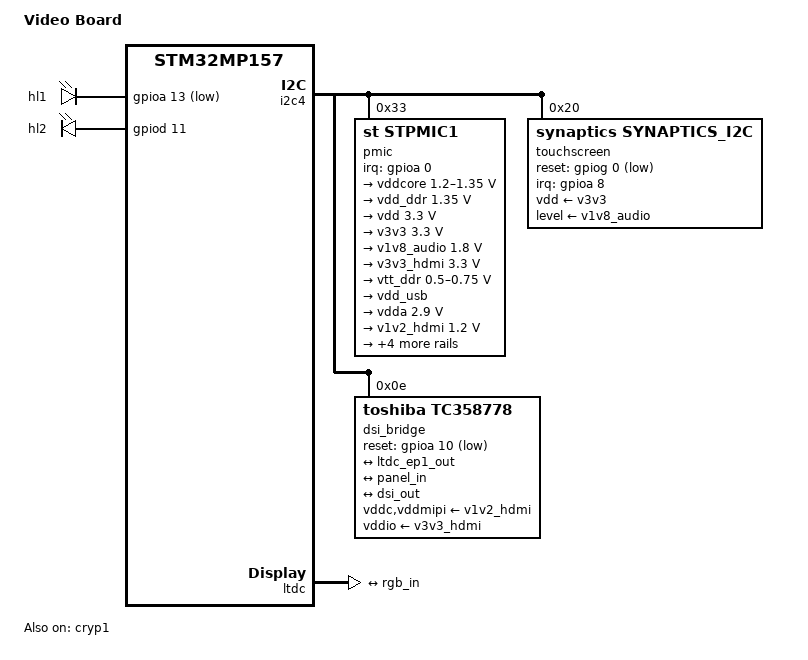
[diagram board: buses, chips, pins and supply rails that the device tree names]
// SPDX-License-Identifier: (GPL-2.0+ OR BSD-3-Clause)
/*
 * Copyright (C) STMicroelectronics 2019 - All Rights Reserved
 * Author: Alexandre Torgue <alexandre.torgue@st.com> for STMicroelectronics.
 */

/dts-v1/;

#include <dt-bindings/mfd/st,stpmic1.h>
//
#include "stm32mp157.dtsi"
#include "stm32mp15xc.dtsi"
#include "stm32mp15-pinctrl.dtsi"
#include "stm32mp15xxac-pinctrl.dtsi"
//
#include "stm32mp15xx-videodev.dtsi"

/ {
	model = "Video Board";
	compatible = "st,stm32mp157c-dk2", "st,stm32mp157";

	aliases {
		serial0 = &uart4;
		serial1 = &uart7;
	};

	chosen {
		stdout-path = "serial0:115200n8";
	};

	led {
		compatible = "gpio-leds";
		led-hl1 {
			label = "hl1";
			gpios = <&gpioa 13 GPIO_ACTIVE_LOW>;
			linux,default-trigger = "heartbeat";
			default-state = "on";
		};
	};

	led {
		compatible = "gpio-leds";
		led-hl2 {
			label = "hl2";
			gpios = <&gpiod 11 (GPIO_ACTIVE_HIGH | GPIO_PULL_UP)>;
			linux,default-trigger = "heartbeat";
			default-state = "on";
		};
	};

	src_clk_x1: src_clk_x1 {
		#clock-cells = <0>;
		compatible = "fixed-clock";
		clock-frequency = <20000000>;
	};
};

&cryp1 {
	status = "okay";
};

&i2c4 {
	status = "okay";

	pmic: stpmic@33 {
		compatible = "st,stpmic1";
		reg = <0x33>;
		interrupts-extended = <&gpioa 0 IRQ_TYPE_EDGE_FALLING>;
		interrupt-controller;
		#interrupt-cells = <2>;
		status = "okay";

		regulators {
			compatible = "st,stpmic1-regulators";
			buck1-supply = <&vin>;
			buck2-supply = <&vin>;
			buck3-supply = <&vin>;
			buck4-supply = <&vin>;
			ldo1-supply = <&v3v3>;
			ldo2-supply = <&vin>;
			ldo3-supply = <&vdd_ddr>;
			ldo4-supply = <&vin>;
			ldo5-supply = <&vin>;
			ldo6-supply = <&v3v3>;
			vref_ddr-supply = <&vin>;
			boost-supply = <&vin>;
			pwr_sw1-supply = <&bst_out>;
			pwr_sw2-supply = <&bst_out>;

			vddcore: buck1 {
				regulator-name = "vddcore";
				regulator-min-microvolt = <1200000>;
				regulator-max-microvolt = <1350000>;
				regulator-always-on;
				regulator-initial-mode = <0>;
				regulator-over-current-protection;
			};

			vdd_ddr: buck2 {
				regulator-name = "vdd_ddr";
				regulator-min-microvolt = <1350000>;
				regulator-max-microvolt = <1350000>;
				regulator-always-on;
				regulator-initial-mode = <0>;
				regulator-over-current-protection;
			};

			vdd: buck3 {
				regulator-name = "vdd";
				regulator-min-microvolt = <3300000>;
				regulator-max-microvolt = <3300000>;
				regulator-always-on;
				st,mask-reset;
				regulator-initial-mode = <0>;
				regulator-over-current-protection;
			};

			v3v3: buck4 {
				regulator-name = "v3v3";
				regulator-min-microvolt = <3300000>;
				regulator-max-microvolt = <3300000>;
				regulator-always-on;
				regulator-over-current-protection;
				regulator-initial-mode = <0>;
			};

			v1v8_audio: ldo1 {
				regulator-name = "v1v8_audio";
				regulator-min-microvolt = <1800000>;
				regulator-max-microvolt = <1800000>;
				regulator-always-on;
				interrupts = <IT_CURLIM_LDO1 0>;
			};

			v3v3_hdmi: ldo2 {
				regulator-name = "v3v3_hdmi";
				regulator-min-microvolt = <3300000>;
				regulator-max-microvolt = <3300000>;
				regulator-always-on;
				interrupts = <IT_CURLIM_LDO2 0>;
			};

			vtt_ddr: ldo3 {
				regulator-name = "vtt_ddr";
				regulator-min-microvolt = <500000>;
				regulator-max-microvolt = <750000>;
				regulator-always-on;
				regulator-over-current-protection;
			};

			vdd_usb: ldo4 {
				regulator-name = "vdd_usb";
				interrupts = <IT_CURLIM_LDO4 0>;
			};

			vdda: ldo5 {
				regulator-name = "vdda";
				regulator-min-microvolt = <2900000>;
				regulator-max-microvolt = <2900000>;
				interrupts = <IT_CURLIM_LDO5 0>;
				regulator-boot-on;
			};

			v1v2_hdmi: ldo6 {
				regulator-name = "v1v2_hdmi";
				regulator-min-microvolt = <1200000>;
				regulator-max-microvolt = <1200000>;
				regulator-always-on;
				interrupts = <IT_CURLIM_LDO6 0>;
			};

			vref_ddr: vref_ddr {
				regulator-name = "vref_ddr";
				regulator-always-on;
			};

			bst_out: boost {
				regulator-name = "bst_out";
				interrupts = <IT_OCP_BOOST 0>;
			};

			vbus_otg: pwr_sw1 {
				regulator-name = "vbus_otg";
				interrupts = <IT_OCP_OTG 0>;
			 };

			vbus_sw: pwr_sw2 {
				regulator-name = "vbus_sw";
				interrupts = <IT_OCP_SWOUT 0>;
				regulator-active-discharge = <1>;
			};
		};

		onkey {
			compatible = "st,stpmic1-onkey";
			interrupts = <IT_PONKEY_F 0>, <IT_PONKEY_R 0>;
			interrupt-names = "onkey-falling", "onkey-rising";
			power-off-time-sec = <10>;
			status = "okay";
		};

		watchdog {
			compatible = "st,stpmic1-wdt";
			status = "disabled";
		};
	};

	touchscreen: touchscreen@20 {
		status = "okay";

		vdd-supply = <&v3v3>;
		level-supply = <&v1v8_audio>;

		compatible = "synaptics,synaptics_i2c";
		reg = <0x20>;
		interrupts-extended = <&gpioa 8 IRQ_TYPE_EDGE_FALLING>;
		interrupt-parent = <&gpioa>;
		interrupt-controller;

		reset-gpios = <&gpiog 0 (GPIO_ACTIVE_LOW | GPIO_PULL_UP)>;

		touchscreen-size-x = <1280>;
		touchscreen-size-y = <768>;
	};

	dsi_bridge: dsi-bridge@e {
		compatible = "toshiba,tc358778", "toshiba,tc358768";
		reg = <0xe>;
		status = "okay";

		//
		vddc-supply = <&v1v2_hdmi>;
		vddmipi-supply = <&v1v2_hdmi>;
		vddio-supply = <&v3v3_hdmi>;

		clocks = <&src_clk_x1>;
		clock-names = "refclk";

		reset-gpios = <&gpioa 10 (GPIO_ACTIVE_LOW | GPIO_PULL_UP)>;

		dsi_bridge_ports: ports {
			#address-cells = <1>;
			#size-cells = <0>;

			port@0 {
				reg = <0>;
				rgb_in: endpoint {
					remote-endpoint = <&ltdc_ep1_out>;
					data-lines = <24>;
				};
			};

			port@1 {
				reg = <1>;
				dsi_out: endpoint {
					remote-endpoint = <&panel_in>;
					lanes = <0 1 2 3 4>;
				};
			};
		};

		dsi-panel@0 {
//			compatible = "raydium,rm69052";
			compatible = "raydium,rm68200";
//			reg = <0x00>;

			status = "okay";

			pwr-supply = <&v3v3>;
			logic-supply = <&v1v8_audio>;

			reset-gpios = <&gpiod 1 (GPIO_ACTIVE_LOW | GPIO_PULL_UP)>;

			dsi-lanes = <4>;
			video-mode = <2>;

			port {
				#address-cells = <1>;
				#size-cells = <0>;

				panel_in: endpoint@0 {
					reg = <0>;
					remote-endpoint = <&dsi_out>;
					lanes = <0 1 2 3 4>;
				};
			};
		};
	};
};

&ltdc {
	pinctrl-names = "default", "sleep";
	pinctrl-0 = <&ltdc_pins_a>;
	pinctrl-1 = <&ltdc_sleep_pins_a>;

	status = "okay";

	port {
		#address-cells = <1>;
		#size-cells = <0>;

		ltdc_ep1_out: endpoint@1 {
			reg = <1>;
			remote-endpoint = <&rgb_in>;
		};
	};
};

//12345678912
